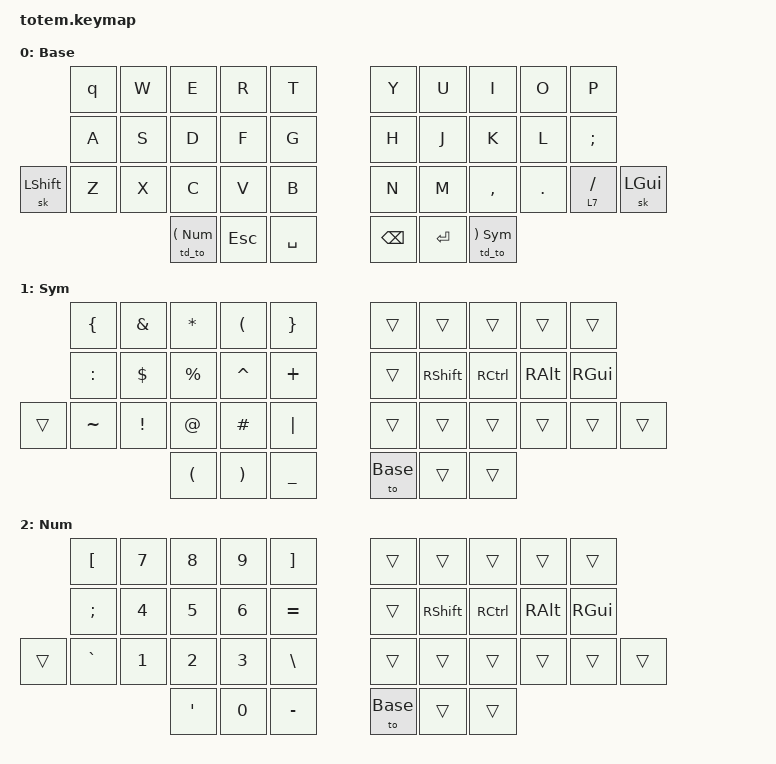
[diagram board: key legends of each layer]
//
//                                                        ▀▀▀▀▀     ▀▀▀▀▀          ▀▀█▀▀
//                                                        ▄▀▀▀▄  ▄  ▄▀▀▀▄  ▄  ▄▀▀▀▄  █  ▄▀▀▀▄
//                                                        █   █  █  █   █  █  █   █  █  █   █
//                                                         ▀▀▀   █   ▀▀▀   █   ▀▀▀   ▀   ▀▀▀
//                                                               █      ▄▄▄█▄▄▄    █   █  
//                                                               ▀      █  █  █     █▄█
//                                                             ▀▀▀▀▀    █  █  █      ▀
//                                                                      ▀  ▀  ▀
//
// ▄▄▄▄▄▄▄▄▄▄▄▄▄▄▄▄▄▄▄▄▄▄▄▄▄▄▄▄▄▄▄▄▄▄▄▄▄▄▄▄▄▄▄▄▄▄▄▄▄▄▄▄▄▄▄▄▄▄▄▄▄▄▄▄▄▄▄▄▄▄▄▄▄▄▄▄▄▄▄▄▄▄▄▄▄▄▄▄▄▄▄▄▄▄▄▄▄▄▄▄▄▄▄▄▄▄▄▄▄▄▄▄▄▄▄▄▄▄▄▄▄▄▄▄▄▄▄▄▄▄▄▄▄▄▄▄▄▄▄▄▄▄▄▄▄▄▄▄▄

#include <behaviors.dtsi>
#include <dt-bindings/zmk/keys.h>
#include <dt-bindings/zmk/bt.h>
#include <dt-bindings/zmk/outputs.h>
#include <dt-bindings/zmk/ext_power.h>

#define Base        0
#define Sym         1
#define Num         2

&mt {
    quick-tap-ms = <100>;
    global-quick-tap;
    flavor = "tap-preferred";
    tapping-term-ms = <170>;
};

&lt {
    tapping-term-ms = <240>;
    flavor = "balanced";
    quick-tap-ms = <150>;
};



/ {

    behaviors {
        hm: homerow_mods {
            compatible = "zmk,behavior-hold-tap";
            label = "HOMEROW_MODS";
            #binding-cells = <2>;
            flavor = "tap-preferred";
            tapping-term-ms = <240>;
            quick-tap-ms = <150>;
            global-quick-tap;
            bindings =
                <&kp>,
                <&kp>;
        };
  
        td_sk_to: tap_dance_sticky_to_layer {
            compatible = "zmk,behavior-tap-dance";
            #binding-cells = <2>;
            tapping-term-ms = <200>;
            bindings = <&sk>, <&to>;
        };

        td_to: tap_dance_0 {
            compatible = "zmk,behavior-tap-dance";
            #binding-cells = <2>;
            tapping-term-ms = <200>;
            bindings = <&kp>, <&to>;
        };
    

    };


    keymap {
        compatible = "zmk,keymap";

    Base {
        label = "Base";
        bindings = <
                    &kp q       &kp W       &kp E         &kp R         &kp T                         &kp Y        &kp U         &kp I       &kp O               &kp P               
                    &kp A       &kp S       &kp D         &kp F         &kp G                         &kp H        &kp J         &kp K       &kp L               &kp SEMICOLON  
        &sk LSHIFT  &kp Z       &kp X       &kp C         &kp V         &kp B                         &kp N        &kp M         &kp COMMA   &kp DOT             &lt 7 SLASH    &sk LEFT_GUI
                                        &td_to LEFT_PARENTHESIS Num  &kp ESCAPE    &kp SPACE         &kp BACKSPACE  &kp ENTER  &td_to RIGHT_PARENTHESIS Sym 
        >;
    };

    Sym {
        label = "Sym";
        bindings = <
                &kp LEFT_BRACE  &kp AMPERSAND  &kp ASTERISK         &kp LEFT_PARENTHESIS   &kp RIGHT_BRACE       &trans      &trans     &trans    &trans    &trans  
                &kp COLON       &kp DOLLAR     &kp PERCENT          &kp CARET              &kp PLUS              &trans  &kp RSHIFT  &kp RCTRL  &kp RALT  &kp RGUI  
        &trans  &kp TILDE       &kp EXCL       &kp AT               &kp HASH               &kp PIPE              &trans      &trans     &trans    &trans    &trans  &trans
                                              &kp LEFT_PARENTHESIS  &kp RIGHT_PARENTHESIS  &kp UNDERSCORE        &to Base      &trans     &trans   
        >;
    };

    Num {
        label = "Num";
        bindings = <
                &kp LEFT_BRACKET  &kp NUMBER_7  &kp NUMBER_8  &kp NUMBER_9  &kp RIGHT_BRACKET       &trans      &trans     &trans    &trans    &trans  
                &kp SEMICOLON     &kp NUMBER_4  &kp NUMBER_5  &kp NUMBER_6  &kp EQUAL               &trans  &kp RSHIFT  &kp RCTRL  &kp RALT  &kp RGUI  
        &trans  &kp GRAVE         &kp NUMBER_1  &kp NUMBER_2  &kp NUMBER_3  &kp BACKSLASH           &trans      &trans     &trans    &trans    &trans  &trans
                                                &kp SQT       &kp NUMBER_0  &kp MINUS               &to Base      &trans     &trans
        >;
    }

  };
};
